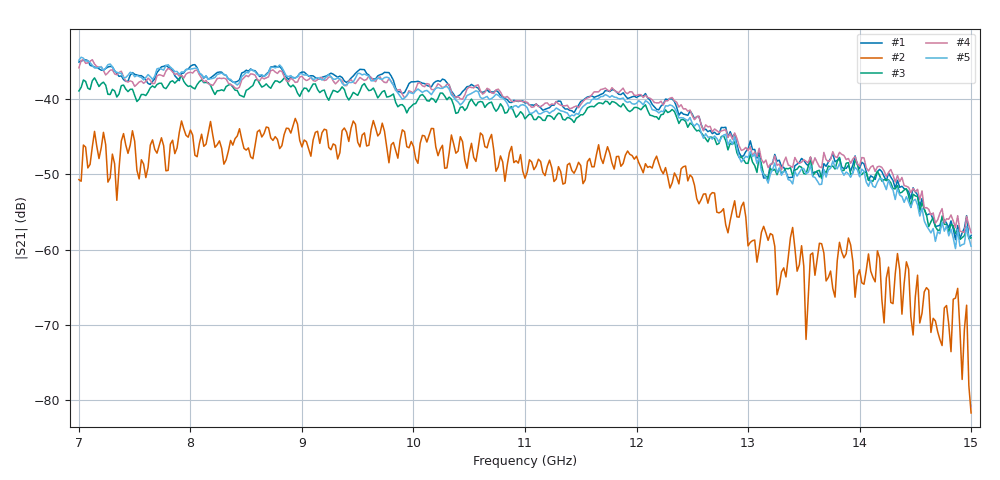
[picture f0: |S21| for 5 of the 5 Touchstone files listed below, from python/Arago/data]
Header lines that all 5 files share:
! CHANNEL.1
! TR.MEASUREMENT
! CORRECTED.DATA
! RF.CORRECTION: FULL.TWO.PORT.CAL.PORT.1.2
! AVERAGING.OFF
! IF.BANDWIDTH: 300HZ
! SWEEPTYPE:  FREQ.SWEEP(Linear)
! Reference Plane Port Info
! PORT:  PORT1  PORT2
! DISTANCE:  0  m  0  m
! TIME:  0  s  0  s
! PHASE.OFFSET:  0 °  0 °
! LOSS:  0  dB  0  dB
! REF.LOSS:  0  dB  0  dB
! REF.FREQ:  0  Hz  0  Hz
! Power Info
! POWER:  5  dBm  5  dBm
! EFF.POWER:  5  dBm  5  dBm
# GHZ S RI R 50.0
! FREQ.GHZ  S11RE  S11IM  S21RE  S21IM  S12RE  S12IM  S22RE  S22IM
!; PortSelection: Port_12
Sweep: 7 GHz to 15 GHz
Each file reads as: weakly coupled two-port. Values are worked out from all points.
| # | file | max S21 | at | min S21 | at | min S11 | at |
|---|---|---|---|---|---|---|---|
| 1 | arago_0.s2p | -34.81 dB | 7.06 GHz | -58.7 dB | 14.86 GHz | -40.9 dB | 9.56 GHz |
| 2 | arago_40.s2p | -42.59 dB | 8.94 GHz | -81.7 dB | 15 GHz | -42.6 dB | 9.56 GHz |
| 3 | arago_55.s2p | -36.87 dB | 7.92 GHz | -58.6 dB | 14.9 GHz | -53.4 dB | 11.82 GHz |
| 4 | arago_60.s2p | -34.77 dB | 7.04 GHz | -57.7 dB | 15 GHz | -46.9 dB | 11.82 GHz |
| 5 | arago_65.s2p | -34.47 dB | 7.02 GHz | -59.9 dB | 14.86 GHz | -63.4 dB | 9.5 GHz |
